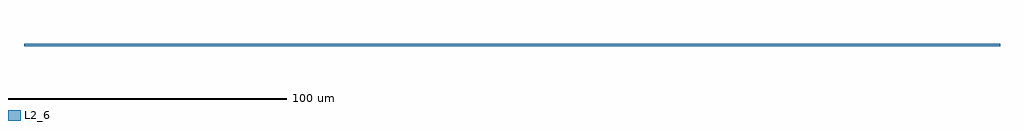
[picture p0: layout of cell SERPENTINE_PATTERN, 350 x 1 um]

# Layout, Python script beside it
import gdspy

# Parameters
path_width = 1.0  # µm
turns = 15
segment_length = 50.0  # µm
start_point = (0, 0)
layer = 2
datatype = 6

# Create the library and cell
lib = gdspy.GdsLibrary()
cell = lib.new_cell('SERPENTINE_PATTERN')

# Create the serpentine path
path = gdspy.Path(path_width, start_point)
direction = '+x'
for i in range(turns):
    if direction == '+x':
        path.segment(segment_length, '+x', layer=layer, datatype=datatype)
        direction = '+y'
    elif direction == '+y':
        path.segment(segment_length, '+y', layer=layer, datatype=datatype)
        direction = '-x'
    elif direction == '-x':
        path.segment(segment_length, '-x', layer=layer, datatype=datatype)
        direction = '+y'
    elif direction == '+y':
        path.segment(segment_length, '+y', layer=layer, datatype=datatype)
        direction = '+x'
    # Alternate direction to create turns

    if i % 2 == 0:
        direction = '+x' if direction == '-x' else '-x'
    else:
        direction = '+y' if direction == '-y' else '-y'

# Add the path to the cell
cell.add(path)

# Save the design to a GDS file
lib.write_gds('serpentine_pattern.gds')

# Optionally, display layout using gdspy internal viewer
